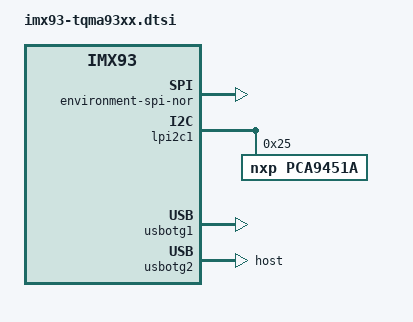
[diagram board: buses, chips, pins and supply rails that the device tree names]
// SPDX-License-Identifier: (GPL-2.0-or-later OR MIT)

/ {
	barebox,deep-probe;

	chosen {
		environment-spi-nor {
			compatible = "barebox,environment";
			device-path = &environment_spi_nor;
		};
	};
};

&lpi2c1 {
	pca9451a: pmic@25 {
		compatible = "nxp,pca9451a";
		reg = <0x25>;
		pinctrl-names = "default";
		pinctrl-0 = <&pinctrl_pca9451>;
		regulators {
			barebox,allow-dummy-supply;
		};
	};
};

&usbotg1 {
	status = "okay";
};

&usbotg2 {
	status = "okay";
	dr_mode = "host";
};

&{flexspi1/flash@0} {
	partitions {
		compatible = "fixed-partitions";
		#address-cells = <1>;
		#size-cells = <1>;

		partition@0 {
			label = "barebox";
			reg = <0x0 0x400000>;
		};

		environment_spi_nor: partition@400000 {
			label = "barebox-environment";
			reg = <0x400000 0x100000>;
		};
	};
};
